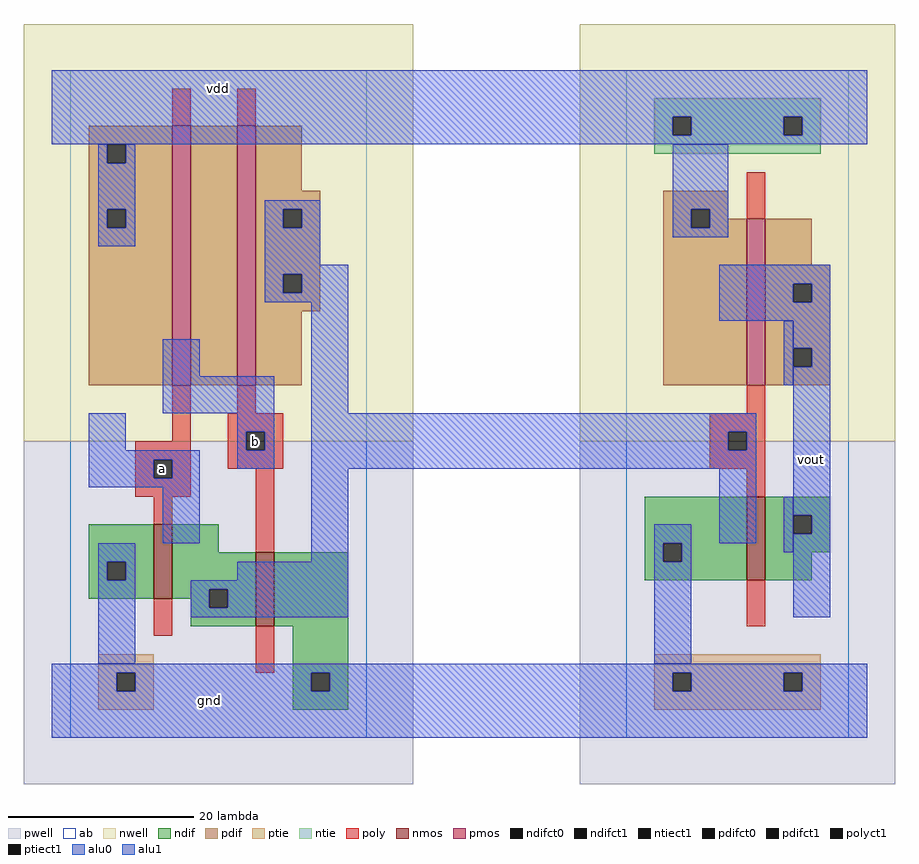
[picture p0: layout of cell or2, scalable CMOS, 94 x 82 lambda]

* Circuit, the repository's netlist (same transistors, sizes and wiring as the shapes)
* SPICE3 file created from or2.ext - technology: scmos

.option scale=0.055u

M1000 a_18_43# a vdd vdd pmos w=28 l=2
+  ad=140 pd=66 as=435 ps=134
M1001 a_16_20# b a_18_43# vdd pmos w=28 l=2
+  ad=166 pd=70 as=0 ps=0
M1002 vout a_16_20# vdd vdd pmos w=18 l=2
+  ad=116 pd=50 as=0 ps=0
M1003 a_16_20# a gnd vss nmos w=8 l=2
+  ad=81 pd=40 as=273 ps=120
M1004 gnd b a_16_20# vss nmos w=8 l=2
+  ad=0 pd=0 as=0 ps=0
M1005 vout a_16_20# gnd vss nmos w=9 l=2
+  ad=57 pd=32 as=0 ps=0

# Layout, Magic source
magic
tech scmos
<< ab >>
rect 5 5 37 77
rect 65 5 89 77
<< nwell >>
rect 0 37 42 82
rect 60 37 94 82
<< pwell >>
rect 0 0 42 37
rect 60 0 94 37
<< poly >>
rect 16 71 18 75
rect 23 71 25 75
rect 78 61 80 66
rect 16 37 18 43
rect 23 40 25 43
rect 78 40 80 43
rect 12 35 18 37
rect 12 33 14 35
rect 16 33 18 35
rect 22 38 28 40
rect 22 36 24 38
rect 26 36 28 38
rect 22 34 28 36
rect 74 38 80 40
rect 74 36 76 38
rect 78 36 80 38
rect 74 34 80 36
rect 12 31 18 33
rect 14 28 16 31
rect 25 25 27 34
rect 78 31 80 34
rect 14 16 16 20
rect 78 17 80 22
rect 25 12 27 17
<< ndif >>
rect 7 24 14 28
rect 7 22 9 24
rect 11 22 14 24
rect 7 20 14 22
rect 16 25 21 28
rect 67 26 78 31
rect 16 21 25 25
rect 16 20 20 21
rect 18 19 20 20
rect 22 19 25 21
rect 18 17 25 19
rect 27 17 35 25
rect 67 24 69 26
rect 71 24 78 26
rect 67 22 78 24
rect 80 29 87 31
rect 80 27 83 29
rect 85 27 87 29
rect 80 25 87 27
rect 80 22 85 25
rect 29 12 35 17
rect 29 10 31 12
rect 33 10 35 12
rect 29 8 35 10
<< pdif >>
rect 7 69 16 71
rect 7 67 9 69
rect 11 67 16 69
rect 7 62 16 67
rect 7 60 9 62
rect 11 60 16 62
rect 7 43 16 60
rect 18 43 23 71
rect 25 64 30 71
rect 25 62 32 64
rect 25 60 28 62
rect 30 60 32 62
rect 25 55 32 60
rect 25 53 28 55
rect 30 53 32 55
rect 25 51 32 53
rect 69 62 76 64
rect 69 60 72 62
rect 74 61 76 62
rect 74 60 78 61
rect 25 43 30 51
rect 69 43 78 60
rect 80 56 85 61
rect 80 54 87 56
rect 80 52 83 54
rect 85 52 87 54
rect 80 47 87 52
rect 80 45 83 47
rect 85 45 87 47
rect 80 43 87 45
<< alu1 >>
rect 3 72 91 77
rect 3 70 70 72
rect 72 70 82 72
rect 84 70 91 72
rect 3 69 91 70
rect 26 62 32 63
rect 26 60 28 62
rect 30 60 32 62
rect 26 56 32 60
rect 26 55 35 56
rect 26 53 28 55
rect 30 53 35 55
rect 26 52 35 53
rect 15 44 19 48
rect 15 40 27 44
rect 7 36 11 40
rect 23 38 27 40
rect 23 36 24 38
rect 26 36 27 38
rect 7 35 19 36
rect 7 33 14 35
rect 16 33 19 35
rect 23 34 27 36
rect 31 40 35 52
rect 75 54 87 56
rect 75 52 83 54
rect 85 52 87 54
rect 75 50 87 52
rect 83 47 87 50
rect 85 45 87 47
rect 31 38 79 40
rect 31 36 76 38
rect 78 36 79 38
rect 31 34 79 36
rect 7 32 19 33
rect 15 26 19 32
rect 31 24 35 34
rect 23 22 35 24
rect 18 21 35 22
rect 18 19 20 21
rect 22 19 35 21
rect 18 18 35 19
rect 75 26 79 34
rect 83 29 87 45
rect 85 27 87 29
rect 83 18 87 27
rect 3 12 91 13
rect 3 10 10 12
rect 12 10 31 12
rect 33 10 70 12
rect 72 10 82 12
rect 84 10 91 12
rect 3 5 91 10
<< ptie >>
rect 8 12 14 14
rect 8 10 10 12
rect 12 10 14 12
rect 8 8 14 10
rect 68 12 86 14
rect 68 10 70 12
rect 72 10 82 12
rect 84 10 86 12
rect 68 8 86 10
<< ntie >>
rect 68 72 86 74
rect 68 70 70 72
rect 72 70 82 72
rect 84 70 86 72
rect 68 68 86 70
<< nmos >>
rect 14 20 16 28
rect 25 17 27 25
rect 78 22 80 31
<< pmos >>
rect 16 43 18 71
rect 23 43 25 71
rect 78 43 80 61
<< polyct1 >>
rect 14 33 16 35
rect 24 36 26 38
rect 76 36 78 38
<< ndifct0 >>
rect 9 22 11 24
rect 69 24 71 26
<< ndifct1 >>
rect 20 19 22 21
rect 83 27 85 29
rect 31 10 33 12
<< ntiect1 >>
rect 70 70 72 72
rect 82 70 84 72
<< ptiect1 >>
rect 10 10 12 12
rect 70 10 72 12
rect 82 10 84 12
<< pdifct0 >>
rect 9 67 11 69
rect 9 60 11 62
rect 72 60 74 62
<< pdifct1 >>
rect 28 60 30 62
rect 28 53 30 55
rect 83 52 85 54
rect 83 45 85 47
<< alu0 >>
rect 8 67 9 69
rect 11 67 12 69
rect 8 62 12 67
rect 8 60 9 62
rect 11 60 12 62
rect 8 58 12 60
rect 70 62 76 69
rect 70 60 72 62
rect 74 60 76 62
rect 70 59 76 60
rect 82 43 83 50
rect 8 24 12 26
rect 8 22 9 24
rect 11 22 12 24
rect 8 13 12 22
rect 68 26 72 28
rect 68 24 69 26
rect 71 24 72 26
rect 82 25 83 31
rect 68 13 72 24
<< labels >>
rlabel polyct1 14 33 16 35 1 a
rlabel polyct1 24 36 26 38 1 b
rlabel alu1 84 34 86 36 1 vout
rlabel alu1 20 74 22 76 1 vdd
rlabel alu1 19 8 21 10 1 gnd
<< end >>
